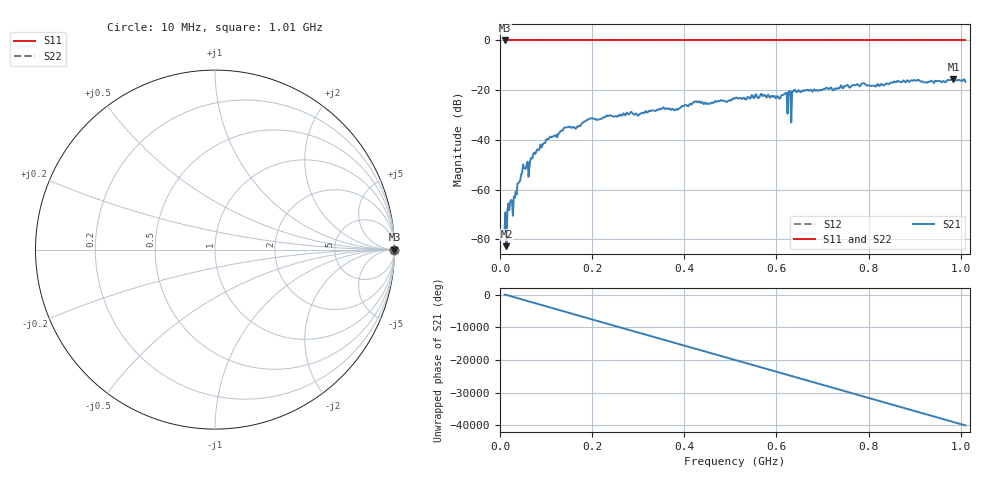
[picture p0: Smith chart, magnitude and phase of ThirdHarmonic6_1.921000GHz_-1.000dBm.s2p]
! 8/16/2025 11:09:58 PM
! C:\ANRITSUVNA\TEMP\TEMP.S2P
! CHANNEL.1
! TR.MEASUREMENT
! RAW.DATA
! RF.CORRECTION.OFF
! AVERAGING.OFF
! IF.BANDWIDTH: 5KHZ
! SWEEPTYPE:  FREQ.SWEEP(Linear)
! Reference Plane Port Info
! PORT:  PORT1  PORT2
! DISTANCE:  0  m  0  m
! TIME:  0  s  0  s
! PHASE.OFFSET:  0  deg.  0  deg.
! LOSS:  0  dB  0  dB
! REF.LOSS:  0  dB  0  dB
! REF.FREQ:  0  Hz  0  Hz
! Power Info
! POWER:  -20  dBm  -20  dBm
! EFF.POWER:  -20  dBm  -20  dBm
! SOURCE.ATTEN:  0  dB  0  dB
! TEST.ATTEN:  0  dB  0  dB
# GHZ S RI R 50.0
! FREQ.GHZ  S11RE  S11IM  S21RE  S21IM  S12RE  S12IM  S22RE  S22IM
!; PortSelection: Port_12
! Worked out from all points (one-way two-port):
!   501 points, 10 MHz to 1.01 GHz, reference 50 ohm
!   highest |S21| = -15.62 dB at 984 MHz (marker M1); lowest = -82.8 dB at 14 MHz (marker M2)
!   lowest |S11| = 0.0 dB at 10 MHz (marker M3)
!   |S11| at or under -10 dB: nowhere
!   |S22| runs from 0.0 to 0.0 dB; largest |S21 - S12| = 1.2
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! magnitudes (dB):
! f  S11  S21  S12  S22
! 10 MHz  0.0  -76.3  0.0  0.0
! 14 MHz  0.0  -82.8  0.0  0.0
! 20 MHz  0.0  -68.3  0.0  0.0
! 32 MHz  0.0  -63.3  0.0  0.0
! 50 MHz  0.0  -50.0  0.0  0.0
! 66 MHz  0.0  -47.7  0.0  0.0
! 76 MHz  0.0  -45.7  0.0  0.0
! 104 MHz  0.0  -39.7  0.0  0.0
! 142 MHz  0.0  -35.0  0.0  0.0
! 178 MHz  0.0  -33.3  0.0  0.0
! 196 MHz  0.0  -31.3  0.0  0.0
! 344 MHz  0.0  -28.0  0.0  0.0
! 510 MHz  0.0  -23.3  0.0  0.0
! 618 MHz  0.0  -21.4  0.0  0.0
! 626 MHz  0.0  -20.7  0.0  0.0
! 628 MHz  0.0  -20.5  0.0  0.0
! 636 MHz  0.0  -20.5  0.0  0.0
! 638 MHz  0.0  -20.0  0.0  0.0
! 678 MHz  0.0  -20.6  0.0  0.0
! 844 MHz  0.0  -17.6  0.0  0.0
! 984 MHz  0.0  -15.6  0.0  0.0
! 1.01 GHz  0.0  -16.7  0.0  0.0
